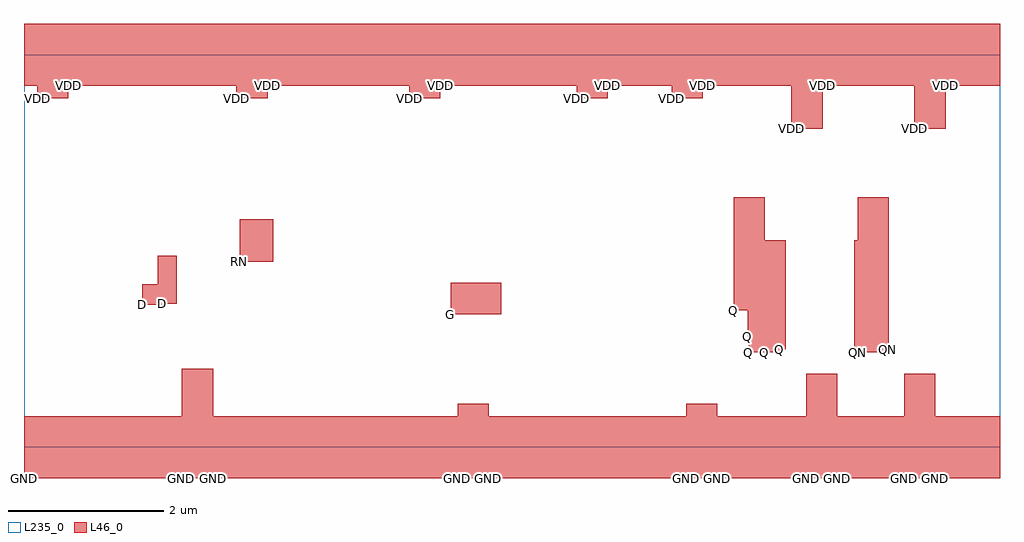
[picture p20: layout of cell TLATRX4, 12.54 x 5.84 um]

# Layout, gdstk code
import gdstk
lib = gdstk.Library(unit=1e-6, precision=1e-09)
def R(c, l, rs):  # rectangles x0, y0, x1, y1
    for r in rs: c.add(gdstk.rectangle(r[:2], r[2:], *l))
L46_0 = (46, 0)
L235_0 = (235, 0)

tlatrx4 = lib.new_cell('TLATRX4')
R(tlatrx4, L46_0, [(0,-0.4,2.03,0.4), (2.03,-0.4,2.43,1.01), (2.43,-0.4,5.57,0.4), (5.57,-0.4,5.97,0.56), (5.97,-0.4,8.51,0.4), (8.51,-0.4,8.91,0.56), (8.91,-0.4,10.05,0.4), (10.05,-0.4,10.45,0.94), (10.45,-0.4,11.31,0.4), (11.31,-0.4,11.71,0.94), (11.71,-0.4,12.54,0.4), (9.31,1.22,9.52,3.21), (9.52,1.22,9.71,2.66), (10.7,1.22,10.71,2.66), (10.71,1.22,11.1,3.21), (9.71,1.26,9.79,2.66), (10.67,1.26,10.7,2.66), (11.1,1.26,11.11,3.21), (9.3,1.42,9.31,3.21), (5.48,1.71,6.13,2.11), (9.12,1.76,9.3,3.21), (1.52,1.83,1.72,2.09), (1.72,1.83,1.78,2.46), (1.78,1.84,1.96,2.46), (2.77,2.38,3.2,2.93), (9.86,4.09,10.26,5.44), (11.44,4.09,11.84,5.44), (0.17,4.48,0.57,5.44), (2.73,4.48,3.13,5.44), (4.95,4.48,5.35,5.44), (7.1,4.48,7.5,5.44), (8.32,4.48,8.72,5.44), (0,4.64,0.17,5.44), (0.57,4.64,2.73,5.44), (3.13,4.64,4.95,5.44), (5.35,4.64,7.1,5.44), (7.5,4.64,8.32,5.44), (8.72,4.64,9.86,5.44), (10.26,4.64,11.44,5.44), (11.84,4.64,12.54,5.44)])
R(tlatrx4, L235_0, [(0,0,12.54,5.04)])
tlatrx4.add(gdstk.Label('RN', (2.77,2.38), layer=101, texttype=0))
tlatrx4.add(gdstk.Label('QN', (11.1,1.26), layer=101, texttype=0))
tlatrx4.add(gdstk.Label('QN', (10.71,1.22), layer=101, texttype=0))
tlatrx4.add(gdstk.Label('QN', (10.7,1.22), layer=101, texttype=0))
tlatrx4.add(gdstk.Label('QN', (10.67,1.26), layer=101, texttype=0))
tlatrx4.add(gdstk.Label('Q', (9.71,1.26), layer=101, texttype=0))
tlatrx4.add(gdstk.Label('Q', (9.52,1.22), layer=101, texttype=0))
tlatrx4.add(gdstk.Label('Q', (9.31,1.22), layer=101, texttype=0))
tlatrx4.add(gdstk.Label('Q', (9.3,1.42), layer=101, texttype=0))
tlatrx4.add(gdstk.Label('Q', (9.12,1.76), layer=101, texttype=0))
tlatrx4.add(gdstk.Label('G', (5.48,1.71), layer=101, texttype=0))
tlatrx4.add(gdstk.Label('D', (1.78,1.84), layer=101, texttype=0))
tlatrx4.add(gdstk.Label('D', (1.72,1.83), layer=101, texttype=0))
tlatrx4.add(gdstk.Label('D', (1.52,1.83), layer=101, texttype=0))
tlatrx4.add(gdstk.Label('VDD', (11.84,4.64), layer=101, texttype=0))
tlatrx4.add(gdstk.Label('VDD', (11.44,4.09), layer=101, texttype=0))
tlatrx4.add(gdstk.Label('VDD', (10.26,4.64), layer=101, texttype=0))
tlatrx4.add(gdstk.Label('VDD', (9.86,4.09), layer=101, texttype=0))
tlatrx4.add(gdstk.Label('VDD', (8.72,4.64), layer=101, texttype=0))
tlatrx4.add(gdstk.Label('VDD', (8.32,4.48), layer=101, texttype=0))
tlatrx4.add(gdstk.Label('VDD', (7.5,4.64), layer=101, texttype=0))
tlatrx4.add(gdstk.Label('VDD', (7.1,4.48), layer=101, texttype=0))
tlatrx4.add(gdstk.Label('VDD', (5.35,4.64), layer=101, texttype=0))
tlatrx4.add(gdstk.Label('VDD', (4.95,4.48), layer=101, texttype=0))
tlatrx4.add(gdstk.Label('VDD', (3.13,4.64), layer=101, texttype=0))
tlatrx4.add(gdstk.Label('VDD', (2.73,4.48), layer=101, texttype=0))
tlatrx4.add(gdstk.Label('VDD', (0.57,4.64), layer=101, texttype=0))
tlatrx4.add(gdstk.Label('VDD', (0.17,4.48), layer=101, texttype=0))
tlatrx4.add(gdstk.Label('VDD', (0,4.64), layer=101, texttype=0))
tlatrx4.add(gdstk.Label('GND', (11.71,-0.4), layer=101, texttype=0))
tlatrx4.add(gdstk.Label('GND', (11.31,-0.4), layer=101, texttype=0))
tlatrx4.add(gdstk.Label('GND', (10.45,-0.4), layer=101, texttype=0))
tlatrx4.add(gdstk.Label('GND', (10.05,-0.4), layer=101, texttype=0))
tlatrx4.add(gdstk.Label('GND', (8.91,-0.4), layer=101, texttype=0))
tlatrx4.add(gdstk.Label('GND', (8.51,-0.4), layer=101, texttype=0))
tlatrx4.add(gdstk.Label('GND', (5.97,-0.4), layer=101, texttype=0))
tlatrx4.add(gdstk.Label('GND', (5.57,-0.4), layer=101, texttype=0))
tlatrx4.add(gdstk.Label('GND', (2.43,-0.4), layer=101, texttype=0))
tlatrx4.add(gdstk.Label('GND', (2.03,-0.4), layer=101, texttype=0))
tlatrx4.add(gdstk.Label('GND', (0,-0.4), layer=101, texttype=0))

lib.write_gds('TLATRX4.gds')
